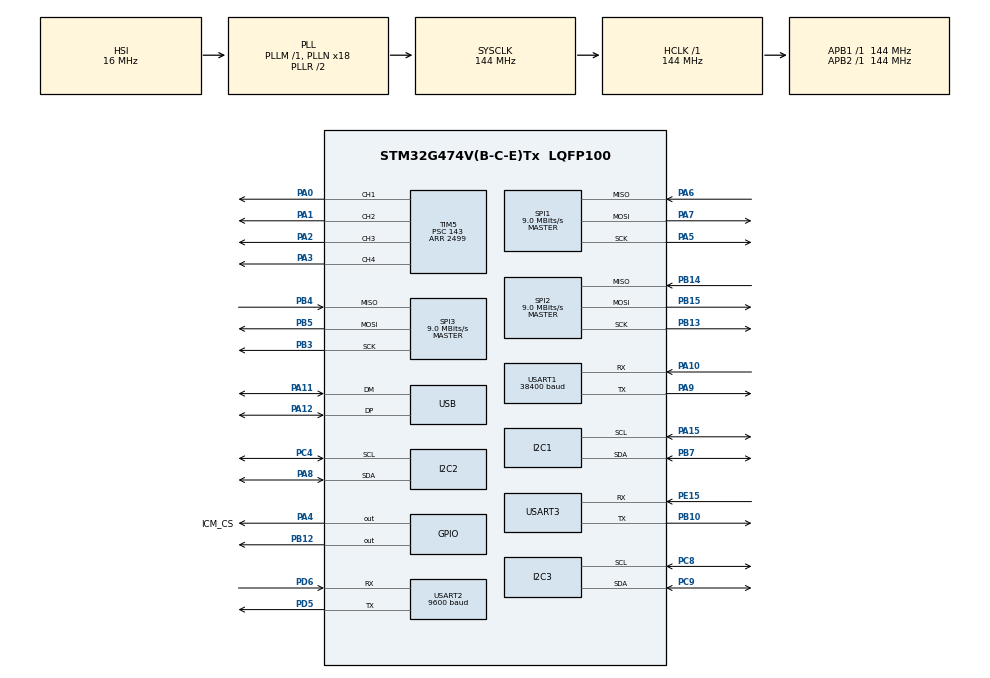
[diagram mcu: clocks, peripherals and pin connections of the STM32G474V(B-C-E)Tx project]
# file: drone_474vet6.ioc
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Dma.Request0=USART2_RX
Dma.Request1=USART2_TX
Dma.USART2_RX.0.Direction=DMA_PERIPH_TO_MEMORY
Dma.USART2_RX.0.EventEnable=DISABLE
Dma.USART2_RX.0.Instance=DMA1_Channel1
Dma.USART2_RX.0.MemDataAlignment=DMA_MDATAALIGN_BYTE
Dma.USART2_RX.0.MemInc=DMA_MINC_ENABLE
Dma.USART2_RX.0.Mode=DMA_CIRCULAR
Dma.USART2_RX.0.PeriphDataAlignment=DMA_PDATAALIGN_BYTE
Dma.USART2_RX.0.PeriphInc=DMA_PINC_DISABLE
Dma.USART2_RX.0.Polarity=HAL_DMAMUX_REQ_GEN_RISING
Dma.USART2_RX.0.Priority=DMA_PRIORITY_LOW
Dma.USART2_RX.0.RequestNumber=1
Dma.USART2_RX.0.SignalID=NONE
Dma.USART2_RX.0.SyncEnable=DISABLE
Dma.USART2_RX.0.SyncPolarity=HAL_DMAMUX_SYNC_NO_EVENT
Dma.USART2_RX.0.SyncRequestNumber=1
Dma.USART2_RX.0.SyncSignalID=NONE
Dma.USART2_TX.1.Direction=DMA_MEMORY_TO_PERIPH
Dma.USART2_TX.1.EventEnable=DISABLE
Dma.USART2_TX.1.Instance=DMA1_Channel2
Dma.USART2_TX.1.MemDataAlignment=DMA_MDATAALIGN_BYTE
Dma.USART2_TX.1.MemInc=DMA_MINC_ENABLE
Dma.USART2_TX.1.Mode=DMA_NORMAL
Dma.USART2_TX.1.PeriphDataAlignment=DMA_PDATAALIGN_BYTE
Dma.USART2_TX.1.PeriphInc=DMA_PINC_DISABLE
Dma.USART2_TX.1.Polarity=HAL_DMAMUX_REQ_GEN_RISING
Dma.USART2_TX.1.Priority=DMA_PRIORITY_LOW
Dma.USART2_TX.1.RequestNumber=1
Dma.USART2_TX.1.SignalID=NONE
Dma.USART2_TX.1.SyncEnable=DISABLE
Dma.USART2_TX.1.SyncPolarity=HAL_DMAMUX_SYNC_NO_EVENT
Dma.USART2_TX.1.SyncRequestNumber=1
Dma.USART2_TX.1.SyncSignalID=NONE
I2C1.Timing=0x60715075
I2C2.Timing=0x60715075
I2C3.Timing=0x60715075
Mcu.Family=STM32G4
Mcu.Name=STM32G474V(B-C-E)Tx
Mcu.Package=LQFP100
NVIC.DMA1_Channel1_IRQn=true\:0\:0\:false\:false\:true\:false\:true\:true
NVIC.DMA1_Channel2_IRQn=true\:0\:0\:false\:false\:true\:false\:true\:true
NVIC.PriorityGroup=NVIC_PRIORITYGROUP_4
NVIC.USART1_IRQn=true\:0\:0\:false\:false\:true\:true\:true\:true
NVIC.USART2_IRQn=true\:0\:0\:false\:false\:true\:true\:true\:true
NVIC.USB_LP_IRQn=true\:0\:0\:false\:false\:true\:false\:true\:true
PA0.Signal=S_TIM5_CH1
PA1.Signal=S_TIM5_CH2
PA10.Mode=Asynchronous
PA10.Signal=USART1_RX
PA11.Mode=Device
PA11.Signal=USB_DM
PA12.Mode=Device
PA12.Signal=USB_DP
PA13.Mode=Serial_Wire
PA13.Signal=SYS_JTMS-SWDIO
PA14.Mode=Serial_Wire
PA14.Signal=SYS_JTCK-SWCLK
PA15.Mode=I2C
PA15.Signal=I2C1_SCL
PA2.Signal=S_TIM5_CH3
PA3.Signal=S_TIM5_CH4
PA4.GPIO_Label=ICM_CS
PA4.Signal=GPIO_Output
PA5.Mode=Full_Duplex_Master
PA5.Signal=SPI1_SCK
PA6.Mode=Full_Duplex_Master
PA6.Signal=SPI1_MISO
PA7.Mode=Full_Duplex_Master
PA7.Signal=SPI1_MOSI
PA8.GPIO_Pu=GPIO_NOPULL
PA8.Mode=I2C
PA8.Signal=I2C2_SDA
PA9.Mode=Asynchronous
PA9.Signal=USART1_TX
PB10.Mode=Asynchronous
PB10.Signal=USART3_TX
PB12.Signal=GPIO_Output
PB13.Mode=Full_Duplex_Master
PB13.Signal=SPI2_SCK
PB14.Mode=Full_Duplex_Master
PB14.Signal=SPI2_MISO
PB15.Mode=Full_Duplex_Master
PB15.Signal=SPI2_MOSI
PB3.Mode=Full_Duplex_Master
PB3.Signal=SPI3_SCK
PB4.Mode=Full_Duplex_Master
PB4.Signal=SPI3_MISO
PB5.Mode=Full_Duplex_Master
PB5.Signal=SPI3_MOSI
PB7.Mode=I2C
PB7.Signal=I2C1_SDA
PC14-OSC32_IN.Mode=LSE-External-Oscillator
PC14-OSC32_IN.Signal=RCC_OSC32_IN
PC15-OSC32_OUT.Mode=LSE-External-Oscillator
PC15-OSC32_OUT.Signal=RCC_OSC32_OUT
PC4.Mode=I2C
PC4.Signal=I2C2_SCL
PC8.Mode=I2C
PC8.Signal=I2C3_SCL
PC9.Mode=I2C
PC9.Signal=I2C3_SDA
PD5.Mode=Asynchronous
PD5.Signal=USART2_TX
PD6.Mode=Asynchronous
PD6.Signal=USART2_RX
PE15.Mode=Asynchronous
PE15.Signal=USART3_RX
PF0-OSC_IN.Mode=HSE-External-Oscillator
PF0-OSC_IN.Signal=RCC_OSC_IN
PF1-OSC_OUT.Mode=HSE-External-Oscillator
PF1-OSC_OUT.Signal=RCC_OSC_OUT
ProjectManager.HeapSize=0x200
ProjectManager.StackSize=0x400
ProjectManager.TargetToolchain=STM32CubeIDE
RCC.ADC12Freq_Value=144000000
RCC.ADC345Freq_Value=144000000
RCC.AHBFreq_Value=144000000
RCC.APB1Freq_Value=144000000
RCC.APB1TimFreq_Value=144000000
RCC.APB2Freq_Value=144000000
RCC.APB2TimFreq_Value=144000000
RCC.CK48CLockSelection=RCC_USBCLKSOURCE_HSI48
RCC.CortexFreq_Value=144000000
RCC.EXTERNAL_CLOCK_VALUE=12288000
RCC.HCLKFreq_Value=144000000
RCC.HSE_VALUE=24000000
RCC.HSI48_VALUE=48000000
RCC.HSI_VALUE=16000000
RCC.PLLN=18
RCC.PLLQ=RCC_PLLQ_DIV6
RCC.SYSCLKFreq_VALUE=144000000
RCC.SYSCLKSource=RCC_SYSCLKSOURCE_PLLCLK
RCC.USBFreq_Value=48000000
RCC.VCOOutputFreq_Value=288000000
SH.S_TIM5_CH1.0=TIM5_CH1,PWM Generation1 CH1
SH.S_TIM5_CH2.0=TIM5_CH2,PWM Generation2 CH2
SH.S_TIM5_CH3.0=TIM5_CH3,PWM Generation3 CH3
SH.S_TIM5_CH4.0=TIM5_CH4,PWM Generation4 CH4
SPI1.BaudRatePrescaler=SPI_BAUDRATEPRESCALER_16
SPI1.CalculateBaudRate=9.0 MBits/s
SPI1.DataSize=SPI_DATASIZE_8BIT
SPI1.Direction=SPI_DIRECTION_2LINES
SPI1.Mode=SPI_MODE_MASTER
SPI1.VirtualType=VM_MASTER
SPI2.BaudRatePrescaler=SPI_BAUDRATEPRESCALER_16
SPI2.CalculateBaudRate=9.0 MBits/s
SPI2.Direction=SPI_DIRECTION_2LINES
SPI2.Mode=SPI_MODE_MASTER
SPI2.VirtualType=VM_MASTER
SPI3.BaudRatePrescaler=SPI_BAUDRATEPRESCALER_16
SPI3.CalculateBaudRate=9.0 MBits/s
SPI3.Direction=SPI_DIRECTION_2LINES
SPI3.Mode=SPI_MODE_MASTER
SPI3.VirtualType=VM_MASTER
TIM5.Channel-PWM\ Generation1\ CH1=TIM_CHANNEL_1
TIM5.Channel-PWM\ Generation2\ CH2=TIM_CHANNEL_2
TIM5.Channel-PWM\ Generation3\ CH3=TIM_CHANNEL_3
TIM5.Channel-PWM\ Generation4\ CH4=TIM_CHANNEL_4
TIM5.PeriodNoDither=2499
TIM5.Prescaler=143
TIM5.PulseNoDither_1=1000
TIM5.PulseNoDither_2=1000
TIM5.PulseNoDither_3=1000
USART1.BaudRate=38400
USART1.VirtualMode-Asynchronous=VM_ASYNC
USART2.BaudRate=9600
USART2.VirtualMode-Asynchronous=VM_ASYNC
USART3.VirtualMode-Asynchronous=VM_ASYNC
USB_DEVICE.CLASS_NAME_FS=CDC
USB_DEVICE.VirtualMode=Cdc
USB_DEVICE.VirtualModeFS=Cdc_FS
VP_SYS_VS_DBSignals.Mode=DisableDeadBatterySignals
VP_TIM5_VS_ClockSourceINT.Mode=Internal
VP_USB_DEVICE_VS_USB_DEVICE_CDC_FS.Mode=CDC_FS
board=custom

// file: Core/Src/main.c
/* USER CODE BEGIN Header */
/**
 ******************************************************************************
 * @file           : main.c
 * @brief          : Main program body
 ******************************************************************************
 * @attention
 *
 * Copyright (c) 2026 STMicroelectronics.
 * All rights reserved.
 *
 * This software is licensed under terms that can be found in the LICENSE file
 * in the root directory of this software component.
 * If no LICENSE file comes with this software, it is provided AS-IS.
 *
 ******************************************************************************
 */
/* USER CODE END Header */
#include "main.h"
#include "usb_device.h"

/* USER CODE BEGIN Includes */
#include "e220.h"
#include "icm42670.h"
#include "gps.h"
#include "mmc5983ma.h"
#include "angle_controller.h"
#include "rate_controller.h"
#include "mixer.h"
#include "mahony.h"
#include "drone_link.h"

#include "stdio.h"
#include "stdint.h"
#include "stdlib.h"
#include <string.h>
/* USER CODE END Includes */

/* USER CODE BEGIN PTD */

typedef struct
{
  uint32_t start_ms;
  DroneLink_PitchDebug_t data;
} PitchLogWindow_t;

/* USER CODE END PTD */

I2C_HandleTypeDef hi2c1; /**< Handle HAL của I2C1; truyền vào các driver dùng bus này. */
I2C_HandleTypeDef hi2c2; /**< Handle HAL của ngoại vi I2C2. */
I2C_HandleTypeDef hi2c3; /**< Handle HAL của ngoại vi I2C3. */

SPI_HandleTypeDef hspi1; /**< Handle SPI1 dùng trao đổi dữ liệu với ICM42670. */
SPI_HandleTypeDef hspi2; /**< Handle HAL của ngoại vi SPI2. */
SPI_HandleTypeDef hspi3; /**< Handle HAL của ngoại vi SPI3. */

TIM_HandleTypeDef htim5; /**< Handle TIM5 xuất PWM tới bốn ESC qua CH1..CH4. */

UART_HandleTypeDef huart1;        /**< USART1, 38400 baud; hiện dùng xuất log trạng thái. */
UART_HandleTypeDef huart2;        /**< USART2, 9600 baud; giao tiếp với module E220. */
UART_HandleTypeDef huart3;        /**< Handle HAL của USART3, cấu hình 115200 baud. */
DMA_HandleTypeDef hdma_usart2_rx; /**< Handle RX DMA1 Channel1 được CubeMX cấu hình; E220 hiện nhận từng byte bằng ngắt UART. */
DMA_HandleTypeDef hdma_usart2_tx; /**< Handle TX DMA1 Channel2 dùng gửi gói E220 không chặn. */

/* USER CODE BEGIN PV */
E220_t lora; /**< Trạng thái UART, bộ đệm RX/TX và bộ đếm chẩn đoán của radio. */
/* USART2 TX uses CubeMX DMA1_Channel2; E220 RX remains interrupt-driven. */
volatile uint32_t e220_uart_tx_done = 0; /**< Số callback hoàn tất TX của USART2; được tăng trong ngữ cảnh ngắt. */

DroneLink_t drone_link; /**< Trạng thái giao thức throttle/PID/telemetry giữa STM32 và ESP32. */

MMC5983MA_t mmc; /**< Đối tượng từ kế; đoạn khởi tạo hiện đang được comment. */

ICM42670_t icm;      /**< Cấu hình và bias gyro được đo trong quá trình hiệu chuẩn IMU. */
ICM42670_Data_t imu; /**< Mẫu IMU: gia tốc (g), tốc độ góc (độ/s) và nhiệt độ (độ C). */

Mahony_t mahony; /**< Quaternion, phản hồi tích phân và tham số bộ lọc tư thế Mahony. */

AngleController_t angle_ctrl; /**< PID vòng góc roll/pitch, tạo setpoint tốc độ góc. */
RateController_t rate_ctrl;   /**< PID vòng tốc độ roll/pitch/yaw, tạo hiệu chỉnh cho mixer. */

MotorMixer_t motor; /**< Độ rộng xung của bốn động cơ m1..m4, đơn vị microsecond. */

float roll_deg;  /**< Góc roll ước lượng từ Mahony, đơn vị độ. */
float pitch_deg; /**< Góc pitch ước lượng từ Mahony, đơn vị độ. */
float yaw_deg;   /**< Góc yaw tương đối, đơn vị độ; chưa dùng từ kế để hiệu chỉnh hướng. */

float roll_rate_sp;  /**< Tốc độ góc roll yêu cầu từ vòng góc, đơn vị độ/s. */
float pitch_rate_sp; /**< Tốc độ góc pitch yêu cầu từ vòng góc, đơn vị độ/s. */

float roll_pid;  /**< Hiệu chỉnh roll đưa vào mixer, cùng thang đơn vị microsecond với throttle. */
float pitch_pid; /**< Hiệu chỉnh pitch đưa vào mixer, cùng thang đơn vị microsecond với throttle. */
float yaw_pid;   /**< Hiệu chỉnh yaw đưa vào mixer, cùng thang đơn vị microsecond với throttle. */

float throttle = 1000.0f; /**< Lệnh ga trực tiếp lấy từ DroneLink, đơn vị microsecond. */

char uart_buf[128]; /**< Bộ đệm chuỗi báo lỗi khi khởi tạo IMU. */

static char tx_frame[512]; /**< Bộ đệm log tồn tại suốt chương trình để USART1 TX bằng ngắt đọc được. */
static PitchLogWindow_t pitch_log;
/* USER CODE END PV */

void SystemClock_Config(void);
static void MX_GPIO_Init(void);
static void MX_DMA_Init(void);
static void MX_I2C1_Init(void);
static void MX_I2C2_Init(void);
static void MX_USART1_UART_Init(void);
static void MX_USART2_UART_Init(void);
static void MX_USART3_UART_Init(void);
static void MX_SPI1_Init(void);
static void MX_SPI2_Init(void);
static void MX_SPI3_Init(void);
static void MX_I2C3_Init(void);
static void MX_TIM5_Init(void);
/* USER CODE BEGIN PFP */
// void HAL_UART_RxCpltCallback(UART_HandleTypeDef *huart) {
//	if (huart->Instance == USART1) {
//		GPS_RxCallback(gps_rx_byte);
//		HAL_UART_Receive_IT(&huart1, &gps_rx_byte, 1);
//	} else if (huart->Instance == USART2) {
//		E220_RxCallback(&lora);
//	}
// }
/* USER CODE END PFP */

/* USER CODE BEGIN 0 */
uint32_t last_tick; /**< Mốc HAL_GetTick() của lần cập nhật điều khiển trước, đơn vị ms. */

/* Collect every control sample, including peaks between radio status packets. */
static void PitchLog_Record(float dt, float p_term, float i_term, float d_term,
                            uint8_t pid_valid)
{
  DroneLink_PitchDebug_t *data = &pitch_log.data;
  float gyro_y = imu.gy_dps;
  float dt_ms = dt * 1000.0f;

  if (data->samples == 0U)
  {
    data->gyro_y_min = data->gyro_y_max = gyro_y;
    data->d_min = data->d_max = d_term;
    data->dt_min_ms = data->dt_max_ms = dt_ms;
  }
  else
  {
    if (gyro_y < data->gyro_y_min)
      data->gyro_y_min = gyro_y;
    if (gyro_y > data->gyro_y_max)
      data->gyro_y_max = gyro_y;
    if (d_term < data->d_min)
      data->d_min = d_term;
    if (d_term > data->d_max)
      data->d_max = d_term;
    if (dt_ms < data->dt_min_ms)
      data->dt_min_ms = dt_ms;
    if (dt_ms > data->dt_max_ms)
      data->dt_max_ms = dt_ms;
  }

  data->gyro_y = gyro_y;
  data->rate_sp = pitch_rate_sp;
  data->p_term = p_term;
  data->i_term = i_term;
  data->d_term = d_term;
  data->output = pitch_pid;
  data->dt_ms = dt_ms;
  ++data->samples;
  if (!pid_valid)
    ++data->invalid_pid_samples;
}

/*
 * One combined S + diagnostic per T request (normally about 1.5 seconds).
 * Preserve every peak until DMA accepts the packet, including busy/PID slots.
 * At throttle 1000 the sampled PID is diagnostic only, not applied to motors.
 */
static void PitchLog_TrySend(uint32_t now)
{
  pitch_log.data.window_ms = now - pitch_log.start_ms;
  if (DroneLink_SendStatusDebug(&drone_link, roll_deg, pitch_deg, yaw_deg,
                                motor.m1, motor.m2, motor.m3, motor.m4,
                                &pitch_log.data))
  {
    pitch_log = (PitchLogWindow_t){.start_ms = now};
  }
}

/* USER CODE END 0 */

int main(void)
{

  /* MCU Configuration--------------------------------------------------------*/

  /* Reset of all peripherals, Initializes the Flash interface and the Systick. */
  HAL_Init();

  /* Configure the system clock */
  SystemClock_Config();

  /* Initialize all configured peripherals */
  MX_GPIO_Init();
  MX_DMA_Init();
  MX_I2C1_Init();
  MX_I2C2_Init();
  MX_USART1_UART_Init();
  MX_USART2_UART_Init();
  MX_USART3_UART_Init();
  MX_SPI1_Init();
  MX_SPI2_Init();
  MX_SPI3_Init();
  MX_I2C3_Init();
  MX_TIM5_Init();
  MX_USB_Device_Init();
  /* USER CODE BEGIN 2 */

  HAL_TIM_PWM_Start(&htim5, TIM_CHANNEL_1);
  HAL_TIM_PWM_Start(&htim5, TIM_CHANNEL_2);
  HAL_TIM_PWM_Start(&htim5, TIM_CHANNEL_3);
  HAL_TIM_PWM_Start(&htim5, TIM_CHANNEL_4);

  __HAL_TIM_SET_COMPARE(&htim5, TIM_CHANNEL_1, 1000);
  __HAL_TIM_SET_COMPARE(&htim5, TIM_CHANNEL_2, 1000);
  __HAL_TIM_SET_COMPARE(&htim5, TIM_CHANNEL_3, 1000);
  __HAL_TIM_SET_COMPARE(&htim5, TIM_CHANNEL_4, 1000);

  HAL_Delay(4000);

  // if (GPS_Init(&huart1) != HAL_OK)
  // {
  // 	Error_Handler();
  // }
  if (ICM42670_Init(&icm) != ICM42670_OK)
  {
    sprintf(uart_buf, "ICM init err\r\n");
    HAL_UART_Transmit(&huart1, (uint8_t *)uart_buf, strlen(uart_buf),
                      HAL_MAX_DELAY);
    Error_Handler();
  }
  /* Keep the drone stationary (it may be tilted) throughout calibration. */
  if (ICM42670_CalibrateGyro(&icm, 500, 2) != ICM42670_OK)
  {
    Error_Handler();
  }

  /* Average gravity to initialize the actual tilt instead of zero angles. */
  const uint16_t tilt_samples = 100U; /**< Số mẫu gia tốc dùng tính hướng trọng lực khi khởi động. */
  float ax_sum = 0.0f;                /**< Tổng gia tốc trục X của các mẫu khởi tạo, đơn vị g. */
  float ay_sum = 0.0f;                /**< Tổng gia tốc trục Y của các mẫu khởi tạo, đơn vị g. */
  float az_sum = 0.0f;                /**< Tổng gia tốc trục Z của các mẫu khởi tạo, đơn vị g. */
  /* i là chỉ số mẫu gia tốc đang lấy, từ 0 đến tilt_samples - 1. */
  for (uint16_t i = 0U; i < tilt_samples; ++i)
  {
    if (ICM42670_ReadAll(&imu) != ICM42670_OK)
    {
      Error_Handler();
    }
    ax_sum += imu.ax_g;
    ay_sum += imu.ay_g;
    az_sum += imu.az_g;
    HAL_Delay(2U);
  }
  if (!Mahony_InitFromAccel(&mahony, ax_sum / tilt_samples,
                            ay_sum / tilt_samples, az_sum / tilt_samples))
  {
    Error_Handler();
  }
  Mahony_GetEuler(&mahony, &roll_deg, &pitch_deg, &yaw_deg);
  AngleController_Init(&angle_ctrl);
  RateController_Init(&rate_ctrl);

  /* MX_USART2_UART_Init already links TX DMA1_Channel2 and enables USART2 IRQ. */

  /* E220-900T22D: M0/M1 tied to GND, AUX disconnected, UART 9600 8N1.
   * Radio address/channel/air rate must match the peer's stored settings.
   */
  if (E220_Init(&lora, &huart2) != HAL_OK)
  {
    Error_Handler();
  }

  DroneLink_Init(&drone_link, &lora, &angle_ctrl, &rate_ctrl);
  motor.m1 = motor.m2 = motor.m3 = motor.m4 = 1000U;
  /* Tranh dt dau tien bang toan bo thoi gian khoi tao/calibrate IMU. */
  last_tick = HAL_GetTick();
  pitch_log = (PitchLogWindow_t){.start_ms = last_tick};

  /* E220 packet TX uses DMA; S is sent on T request (no periodic S). */
  /* Apply the existing motor outputs only after stationary IMU calibration. */
  //	__HAL_TIM_SET_COMPARE(&htim5, TIM_CHANNEL_1, 1300);
  //	__HAL_TIM_SET_COMPARE(&htim5, TIM_CHANNEL_2, 1150);
  //	__HAL_TIM_SET_COMPARE(&htim5, TIM_CHANNEL_3, 1200);
  //	__HAL_TIM_SET_COMPARE(&htim5, TIM_CHANNEL_4, 1150);
  // mmc.hi2c = &hi2c1;
  // if (MMC5983_Init(&mmc) != HAL_OK)
  // {
  // 	Error_Handler();
  // }
  /* USER CODE END 2 */

  /* Infinite loop */
  while (1)
  {

    /* USER CODE BEGIN 3 */
    DroneLink_Poll(&drone_link);

    uint32_t now = HAL_GetTick(); /**< Thời gian hiện tại của vòng lặp, đơn vị ms; phép trừ unsigned xử lý tràn tick. */

    float dt = (now - last_tick) * 0.001f; /**< Thời gian giữa hai lần cập nhật điều khiển, đổi từ ms sang giây. */

    if (dt < 0.002f)
    {
      continue;
    }

    last_tick = now;

    /* ================= IMU ================= */

    if (ICM42670_ReadAll(&imu) != ICM42670_OK)
    {
      // IMU failure must not leave the previous motor PWM active.
      DroneLink_SetMinimumThrottle(&drone_link);
      __HAL_TIM_SET_COMPARE(&htim5, TIM_CHANNEL_1, 1000);
      __HAL_TIM_SET_COMPARE(&htim5, TIM_CHANNEL_2, 1000);
      __HAL_TIM_SET_COMPARE(&htim5, TIM_CHANNEL_3, 1000);
      __HAL_TIM_SET_COMPARE(&htim5, TIM_CHANNEL_4, 1000);
      motor.m1 = motor.m2 = motor.m3 = motor.m4 = 1000;
      (void)DroneLink_SendStatus(&drone_link, roll_deg, pitch_deg, yaw_deg,
                                 motor.m1, motor.m2, motor.m3, motor.m4);
      continue;
    }

    ICM42670_ApplyCalibration(&icm, &imu);

    /* ================= MAHONY ================= */

    Mahony_Update(&mahony, imu.gx_dps, imu.gy_dps, imu.gz_dps, imu.ax_g,
                  imu.ay_g, imu.az_g, dt);

    Mahony_GetEuler(&mahony, &roll_deg, &pitch_deg, &yaw_deg);

    /*
     * Nếu IMU gắn khác chiều
     * thì đổi dấu tại đây
     */

    // roll_deg  = -roll_deg;
    // pitch_deg = -pitch_deg;
    /* ================= ANGLE PID ================= */

    AngleController_Update(&angle_ctrl, 0.0f, // roll target
                           0.0f,              // pitch target

                           roll_deg, pitch_deg, dt, &roll_rate_sp, &pitch_rate_sp);

    /* ================= RATE PID ================= */

    RateController_Update(&rate_ctrl, roll_rate_sp, pitch_rate_sp, 0.0f,
                          imu.gx_dps, imu.gy_dps, imu.gz_dps, dt, &roll_pid, &pitch_pid,
                          &yaw_pid);

    /* Snapshot the terms actually used, before minimum-throttle PID_Reset. */
    uint8_t pitch_pid_valid = rate_ctrl.pitch.initialized;
    float pitch_p_term = rate_ctrl.pitch.kp * rate_ctrl.pitch.prev_error;
    float pitch_i_term = rate_ctrl.pitch.integral;
    float pitch_d_term = -rate_ctrl.pitch.kd * rate_ctrl.pitch.derivative_filtered;
    PitchLog_Record(dt, pitch_p_term, pitch_i_term, pitch_d_term, pitch_pid_valid);

    /* ================= MIXER ================= */

    throttle = (float)DroneLink_Throttle(&drone_link);
    if (throttle > 1000.0f)
    {
      Mixer_QuadX(throttle, roll_pid, pitch_pid, yaw_pid, &motor);
    }
    else
    {
      motor.m1 = motor.m2 = motor.m3 = motor.m4 = 1000U;
      PID_Reset(&angle_ctrl.roll);
      PID_Reset(&angle_ctrl.pitch);
      PID_Reset(&rate_ctrl.roll);
      PID_Reset(&rate_ctrl.pitch);
      PID_Reset(&rate_ctrl.yaw);
    }

    // Xuat PWM ra ESC
    __HAL_TIM_SET_COMPARE(&htim5, TIM_CHANNEL_1, motor.m1);
    __HAL_TIM_SET_COMPARE(&htim5, TIM_CHANNEL_2, motor.m2);
    __HAL_TIM_SET_COMPARE(&htim5, TIM_CHANNEL_3, motor.m3);
    __HAL_TIM_SET_COMPARE(&htim5, TIM_CHANNEL_4, motor.m4);

    static uint32_t last_log_tick = 0U; /**< Mốc gửi log gần nhất, đơn vị ms; giữ giá trị giữa các vòng lặp. */

    uint32_t log_now = HAL_GetTick(); /**< Thời gian dùng kiểm tra chu kỳ log 500 ms. */

    PitchLog_TrySend(log_now);

    if ((log_now - last_log_tick >= 500U) && (huart1.gState == HAL_UART_STATE_READY))
    {
      /** @brief Số ký tự snprintf cần ghi, không tính NUL; chỉ gửi khi bộ đệm đủ chỗ. */
      int len =
          snprintf(tx_frame, sizeof(tx_frame),
                   "thr=%u angle=%.1f,%.1f,%.1f pid=%.1f,%.1f m=%u,%u,%u,%u\r\n"
                   "LORA T_RX=%lu P_WR=%lu P_RD=%lu TIMEOUT=%lu BAD=%lu"
                   " RX_BYTE=%lu S_REQ=%lu TX_DMA_START=%lu TX_DMA_DONE=%lu"
                   " TX_BUSY=%lu TX_ERR=%lu UART_ERR=%lu\r\n",
                   (unsigned)DroneLink_Throttle(&drone_link),
                   roll_deg, pitch_deg, yaw_deg, roll_pid, pitch_pid,
                   (unsigned)motor.m1, (unsigned)motor.m2,
                   (unsigned)motor.m3, (unsigned)motor.m4,
                   (unsigned long)drone_link.throttle_rx_count,
                   (unsigned long)drone_link.pid_write_count,
                   (unsigned long)drone_link.pid_read_count,
                   (unsigned long)drone_link.throttle_timeout_count,
                   (unsigned long)drone_link.rx_invalid_frames,
                   (unsigned long)drone_link.rx_byte_count,
                   (unsigned long)drone_link.status_request_count,
                   (unsigned long)lora.tx_start_count,
                   (unsigned long)lora.tx_done_count,
                   (unsigned long)lora.tx_busy_count,
                   (unsigned long)lora.tx_error_count,
                   (unsigned long)lora.uart_error_count);

      if ((len > 0) && ((size_t)len < sizeof(tx_frame)))
      {
        if (HAL_UART_Transmit_IT(&huart1, (uint8_t *)tx_frame,
                                 (uint16_t)len) == HAL_OK)
        {
          last_log_tick = log_now;
        }
      }
    }
  }
  /* USER CODE END 3 */
}

void SystemClock_Config(void)
{
  RCC_OscInitTypeDef RCC_OscInitStruct = {0}; /**< Cấu hình HSI, HSI48 và PLL; khởi tạo các trường về 0. */
  RCC_ClkInitTypeDef RCC_ClkInitStruct = {0}; /**< Cấu hình nguồn clock CPU và các bộ chia bus AHB/APB. */

  /** Configure the main internal regulator output voltage
   */
  HAL_PWREx_ControlVoltageScaling(PWR_REGULATOR_VOLTAGE_SCALE1);

  /** Initializes the RCC Oscillators according to the specified parameters
   * in the RCC_OscInitTypeDef structure.
   */
  RCC_OscInitStruct.OscillatorType = RCC_OSCILLATORTYPE_HSI | RCC_OSCILLATORTYPE_HSI48;
  RCC_OscInitStruct.HSIState = RCC_HSI_ON;
  RCC_OscInitStruct.HSICalibrationValue = RCC_HSICALIBRATION_DEFAULT;
  RCC_OscInitStruct.HSI48State = RCC_HSI48_ON;
  RCC_OscInitStruct.PLL.PLLState = RCC_PLL_ON;
  RCC_OscInitStruct.PLL.PLLSource = RCC_PLLSOURCE_HSI;
  RCC_OscInitStruct.PLL.PLLM = RCC_PLLM_DIV1;
  RCC_OscInitStruct.PLL.PLLN = 18;
  RCC_OscInitStruct.PLL.PLLP = RCC_PLLP_DIV2;
  RCC_OscInitStruct.PLL.PLLQ = RCC_PLLQ_DIV6;
  RCC_OscInitStruct.PLL.PLLR = RCC_PLLR_DIV2;
  if (HAL_RCC_OscConfig(&RCC_OscInitStruct) != HAL_OK)
  {
    Error_Handler();
  }

  /** Initializes the CPU, AHB and APB buses clocks
   */
  RCC_ClkInitStruct.ClockType = RCC_CLOCKTYPE_HCLK | RCC_CLOCKTYPE_SYSCLK | RCC_CLOCKTYPE_PCLK1 | RCC_CLOCKTYPE_PCLK2;
  RCC_ClkInitStruct.SYSCLKSource = RCC_SYSCLKSOURCE_PLLCLK;
  RCC_ClkInitStruct.AHBCLKDivider = RCC_SYSCLK_DIV1;
  RCC_ClkInitStruct.APB1CLKDivider = RCC_HCLK_DIV1;
  RCC_ClkInitStruct.APB2CLKDivider = RCC_HCLK_DIV1;

  if (HAL_RCC_ClockConfig(&RCC_ClkInitStruct, FLASH_LATENCY_4) != HAL_OK)
  {
    Error_Handler();
  }
}

static void MX_I2C1_Init(void)
{

  hi2c1.Instance = I2C1;
  hi2c1.Init.Timing = 0x60715075;
  hi2c1.Init.OwnAddress1 = 0;
  hi2c1.Init.AddressingMode = I2C_ADDRESSINGMODE_7BIT;
  hi2c1.Init.DualAddressMode = I2C_DUALADDRESS_DISABLE;
  hi2c1.Init.OwnAddress2 = 0;
  hi2c1.Init.OwnAddress2Masks = I2C_OA2_NOMASK;
  hi2c1.Init.GeneralCallMode = I2C_GENERALCALL_DISABLE;
  hi2c1.Init.NoStretchMode = I2C_NOSTRETCH_DISABLE;
  if (HAL_I2C_Init(&hi2c1) != HAL_OK)
  {
    Error_Handler();
  }

  /** Configure Analogue filter
   */
  if (HAL_I2CEx_ConfigAnalogFilter(&hi2c1, I2C_ANALOGFILTER_ENABLE) != HAL_OK)
  {
    Error_Handler();
  }

  /** Configure Digital filter
   */
  if (HAL_I2CEx_ConfigDigitalFilter(&hi2c1, 0) != HAL_OK)
  {
    Error_Handler();
  }
}

static void MX_I2C2_Init(void)
{

  hi2c2.Instance = I2C2;
  hi2c2.Init.Timing = 0x60715075;
  hi2c2.Init.OwnAddress1 = 0;
  hi2c2.Init.AddressingMode = I2C_ADDRESSINGMODE_7BIT;
  hi2c2.Init.DualAddressMode = I2C_DUALADDRESS_DISABLE;
  hi2c2.Init.OwnAddress2 = 0;
  hi2c2.Init.OwnAddress2Masks = I2C_OA2_NOMASK;
  hi2c2.Init.GeneralCallMode = I2C_GENERALCALL_DISABLE;
  hi2c2.Init.NoStretchMode = I2C_NOSTRETCH_DISABLE;
  if (HAL_I2C_Init(&hi2c2) != HAL_OK)
  {
    Error_Handler();
  }

  /** Configure Analogue filter
   */
  if (HAL_I2CEx_ConfigAnalogFilter(&hi2c2, I2C_ANALOGFILTER_ENABLE) != HAL_OK)
  {
    Error_Handler();
  }

  /** Configure Digital filter
   */
  if (HAL_I2CEx_ConfigDigitalFilter(&hi2c2, 0) != HAL_OK)
  {
    Error_Handler();
  }
}

static void MX_I2C3_Init(void)
{

  hi2c3.Instance = I2C3;
  hi2c3.Init.Timing = 0x60715075;
  hi2c3.Init.OwnAddress1 = 0;
  hi2c3.Init.AddressingMode = I2C_ADDRESSINGMODE_7BIT;
  hi2c3.Init.DualAddressMode = I2C_DUALADDRESS_DISABLE;
  hi2c3.Init.OwnAddress2 = 0;
  hi2c3.Init.OwnAddress2Masks = I2C_OA2_NOMASK;
  hi2c3.Init.GeneralCallMode = I2C_GENERALCALL_DISABLE;
  hi2c3.Init.NoStretchMode = I2C_NOSTRETCH_DISABLE;
  if (HAL_I2C_Init(&hi2c3) != HAL_OK)
  {
    Error_Handler();
  }

  /** Configure Analogue filter
   */
  if (HAL_I2CEx_ConfigAnalogFilter(&hi2c3, I2C_ANALOGFILTER_ENABLE) != HAL_OK)
  {
    Error_Handler();
  }

  /** Configure Digital filter
   */
  if (HAL_I2CEx_ConfigDigitalFilter(&hi2c3, 0) != HAL_OK)
  {
    Error_Handler();
  }
}

static void MX_SPI1_Init(void)
{

  /* SPI1 parameter configuration*/
  hspi1.Instance = SPI1;
  hspi1.Init.Mode = SPI_MODE_MASTER;
  hspi1.Init.Direction = SPI_DIRECTION_2LINES;
  hspi1.Init.DataSize = SPI_DATASIZE_8BIT;
  hspi1.Init.CLKPolarity = SPI_POLARITY_LOW;
  hspi1.Init.CLKPhase = SPI_PHASE_1EDGE;
  hspi1.Init.NSS = SPI_NSS_SOFT;
  hspi1.Init.BaudRatePrescaler = SPI_BAUDRATEPRESCALER_16;
  hspi1.Init.FirstBit = SPI_FIRSTBIT_MSB;
  hspi1.Init.TIMode = SPI_TIMODE_DISABLE;
  hspi1.Init.CRCCalculation = SPI_CRCCALCULATION_DISABLE;
  hspi1.Init.CRCPolynomial = 7;
  hspi1.Init.CRCLength = SPI_CRC_LENGTH_DATASIZE;
  hspi1.Init.NSSPMode = SPI_NSS_PULSE_ENABLE;
  if (HAL_SPI_Init(&hspi1) != HAL_OK)
  {
    Error_Handler();
  }
}

static void MX_SPI2_Init(void)
{

  /* SPI2 parameter configuration*/
  hspi2.Instance = SPI2;
  hspi2.Init.Mode = SPI_MODE_MASTER;
  hspi2.Init.Direction = SPI_DIRECTION_2LINES;
  hspi2.Init.DataSize = SPI_DATASIZE_4BIT;
  hspi2.Init.CLKPolarity = SPI_POLARITY_LOW;
  hspi2.Init.CLKPhase = SPI_PHASE_1EDGE;
  hspi2.Init.NSS = SPI_NSS_SOFT;
  hspi2.Init.BaudRatePrescaler = SPI_BAUDRATEPRESCALER_16;
  hspi2.Init.FirstBit = SPI_FIRSTBIT_MSB;
  hspi2.Init.TIMode = SPI_TIMODE_DISABLE;
  hspi2.Init.CRCCalculation = SPI_CRCCALCULATION_DISABLE;
  hspi2.Init.CRCPolynomial = 7;
  hspi2.Init.CRCLength = SPI_CRC_LENGTH_DATASIZE;
  hspi2.Init.NSSPMode = SPI_NSS_PULSE_ENABLE;
  if (HAL_SPI_Init(&hspi2) != HAL_OK)
  {
    Error_Handler();
  }
}

static void MX_SPI3_Init(void)
{

  /* SPI3 parameter configuration*/
  hspi3.Instance = SPI3;
  hspi3.Init.Mode = SPI_MODE_MASTER;
  hspi3.Init.Direction = SPI_DIRECTION_2LINES;
  hspi3.Init.DataSize = SPI_DATASIZE_4BIT;
  hspi3.Init.CLKPolarity = SPI_POLARITY_LOW;
  hspi3.Init.CLKPhase = SPI_PHASE_1EDGE;
  hspi3.Init.NSS = SPI_NSS_SOFT;
  hspi3.Init.BaudRatePrescaler = SPI_BAUDRATEPRESCALER_16;
  hspi3.Init.FirstBit = SPI_FIRSTBIT_MSB;
  hspi3.Init.TIMode = SPI_TIMODE_DISABLE;
  hspi3.Init.CRCCalculation = SPI_CRCCALCULATION_DISABLE;
  hspi3.Init.CRCPolynomial = 7;
  hspi3.Init.CRCLength = SPI_CRC_LENGTH_DATASIZE;
  hspi3.Init.NSSPMode = SPI_NSS_PULSE_ENABLE;
  if (HAL_SPI_Init(&hspi3) != HAL_OK)
  {
    Error_Handler();
  }
}

static void MX_TIM5_Init(void)
{

  TIM_ClockConfigTypeDef sClockSourceConfig = {0}; /**< Chọn nguồn clock nội cho TIM5. */
  TIM_MasterConfigTypeDef sMasterConfig = {0};     /**< Cấu hình đồng bộ và tín hiệu trigger của TIM5. */
  TIM_OC_InitTypeDef sConfigOC = {0};              /**< Cấu hình chế độ PWM, polarity và giá trị compare của từng kênh. */

  htim5.Instance = TIM5;
  htim5.Init.Prescaler = 143;
  htim5.Init.CounterMode = TIM_COUNTERMODE_UP;
  htim5.Init.Period = 2499;
  htim5.Init.ClockDivision = TIM_CLOCKDIVISION_DIV1;
  htim5.Init.AutoReloadPreload = TIM_AUTORELOAD_PRELOAD_DISABLE;
  if (HAL_TIM_Base_Init(&htim5) != HAL_OK)
  {
    Error_Handler();
  }
  sClockSourceConfig.ClockSource = TIM_CLOCKSOURCE_INTERNAL;
  if (HAL_TIM_ConfigClockSource(&htim5, &sClockSourceConfig) != HAL_OK)
  {
    Error_Handler();
  }
  if (HAL_TIM_PWM_Init(&htim5) != HAL_OK)
  {
    Error_Handler();
  }
  sMasterConfig.MasterOutputTrigger = TIM_TRGO_RESET;
  sMasterConfig.MasterSlaveMode = TIM_MASTERSLAVEMODE_DISABLE;
  if (HAL_TIMEx_MasterConfigSynchronization(&htim5, &sMasterConfig) != HAL_OK)
  {
    Error_Handler();
  }
  sConfigOC.OCMode = TIM_OCMODE_PWM1;
  sConfigOC.Pulse = 1000;
  sConfigOC.OCPolarity = TIM_OCPOLARITY_HIGH;
  sConfigOC.OCFastMode = TIM_OCFAST_DISABLE;
  if (HAL_TIM_PWM_ConfigChannel(&htim5, &sConfigOC, TIM_CHANNEL_1) != HAL_OK)
  {
    Error_Handler();
  }
  if (HAL_TIM_PWM_ConfigChannel(&htim5, &sConfigOC, TIM_CHANNEL_2) != HAL_OK)
  {
    Error_Handler();
  }
  if (HAL_TIM_PWM_ConfigChannel(&htim5, &sConfigOC, TIM_CHANNEL_3) != HAL_OK)
  {
    Error_Handler();
  }
  sConfigOC.Pulse = 0;
  if (HAL_TIM_PWM_ConfigChannel(&htim5, &sConfigOC, TIM_CHANNEL_4) != HAL_OK)
  {
    Error_Handler();
  }
  HAL_TIM_MspPostInit(&htim5);
}

static void MX_USART1_UART_Init(void)
{

  huart1.Instance = USART1;
  huart1.Init.BaudRate = 38400;
  huart1.Init.WordLength = UART_WORDLENGTH_8B;
  huart1.Init.StopBits = UART_STOPBITS_1;
  huart1.Init.Parity = UART_PARITY_NONE;
  huart1.Init.Mode = UART_MODE_TX_RX;
  huart1.Init.HwFlowCtl = UART_HWCONTROL_NONE;
  huart1.Init.OverSampling = UART_OVERSAMPLING_16;
  huart1.Init.OneBitSampling = UART_ONE_BIT_SAMPLE_DISABLE;
  huart1.Init.ClockPrescaler = UART_PRESCALER_DIV1;
  huart1.AdvancedInit.AdvFeatureInit = UART_ADVFEATURE_NO_INIT;
  if (HAL_UART_Init(&huart1) != HAL_OK)
  {
    Error_Handler();
  }
  if (HAL_UARTEx_SetTxFifoThreshold(&huart1, UART_TXFIFO_THRESHOLD_1_8) != HAL_OK)
  {
    Error_Handler();
  }
  if (HAL_UARTEx_SetRxFifoThreshold(&huart1, UART_RXFIFO_THRESHOLD_1_8) != HAL_OK)
  {
    Error_Handler();
  }
  if (HAL_UARTEx_DisableFifoMode(&huart1) != HAL_OK)
  {
    Error_Handler();
  }
}

static void MX_USART2_UART_Init(void)
{

  huart2.Instance = USART2;
  huart2.Init.BaudRate = 9600;
  huart2.Init.WordLength = UART_WORDLENGTH_8B;
  huart2.Init.StopBits = UART_STOPBITS_1;
  huart2.Init.Parity = UART_PARITY_NONE;
  huart2.Init.Mode = UART_MODE_TX_RX;
  huart2.Init.HwFlowCtl = UART_HWCONTROL_NONE;
  huart2.Init.OverSampling = UART_OVERSAMPLING_16;
  huart2.Init.OneBitSampling = UART_ONE_BIT_SAMPLE_DISABLE;
  huart2.Init.ClockPrescaler = UART_PRESCALER_DIV1;
  huart2.AdvancedInit.AdvFeatureInit = UART_ADVFEATURE_NO_INIT;
  if (HAL_UART_Init(&huart2) != HAL_OK)
  {
    Error_Handler();
  }
  if (HAL_UARTEx_SetTxFifoThreshold(&huart2, UART_TXFIFO_THRESHOLD_1_8) != HAL_OK)
  {
    Error_Handler();
  }
  if (HAL_UARTEx_SetRxFifoThreshold(&huart2, UART_RXFIFO_THRESHOLD_1_8) != HAL_OK)
  {
    Error_Handler();
  }
  if (HAL_UARTEx_DisableFifoMode(&huart2) != HAL_OK)
  {
    Error_Handler();
  }
}

static void MX_USART3_UART_Init(void)
{

  huart3.Instance = USART3;
  huart3.Init.BaudRate = 115200;
  huart3.Init.WordLength = UART_WORDLENGTH_8B;
  huart3.Init.StopBits = UART_STOPBITS_1;
  huart3.Init.Parity = UART_PARITY_NONE;
  huart3.Init.Mode = UART_MODE_TX_RX;
  huart3.Init.HwFlowCtl = UART_HWCONTROL_NONE;
  huart3.Init.OverSampling = UART_OVERSAMPLING_16;
  huart3.Init.OneBitSampling = UART_ONE_BIT_SAMPLE_DISABLE;
  huart3.Init.ClockPrescaler = UART_PRESCALER_DIV1;
  huart3.AdvancedInit.AdvFeatureInit = UART_ADVFEATURE_NO_INIT;
  if (HAL_UART_Init(&huart3) != HAL_OK)
  {
    Error_Handler();
  }
  if (HAL_UARTEx_SetTxFifoThreshold(&huart3, UART_TXFIFO_THRESHOLD_1_8) != HAL_OK)
  {
    Error_Handler();
  }
  if (HAL_UARTEx_SetRxFifoThreshold(&huart3, UART_RXFIFO_THRESHOLD_1_8) != HAL_OK)
  {
    Error_Handler();
  }
  if (HAL_UARTEx_DisableFifoMode(&huart3) != HAL_OK)
  {
    Error_Handler();
  }
}

static void MX_DMA_Init(void)
{

  /* DMA controller clock enable */
  __HAL_RCC_DMAMUX1_CLK_ENABLE();
  __HAL_RCC_DMA1_CLK_ENABLE();

  /* DMA interrupt init */
  /* DMA1_Channel1_IRQn interrupt configuration */
  HAL_NVIC_SetPriority(DMA1_Channel1_IRQn, 0, 0);
  HAL_NVIC_EnableIRQ(DMA1_Channel1_IRQn);
  /* DMA1_Channel2_IRQn interrupt configuration */
  HAL_NVIC_SetPriority(DMA1_Channel2_IRQn, 0, 0);
  HAL_NVIC_EnableIRQ(DMA1_Channel2_IRQn);
}

static void MX_GPIO_Init(void)
{
  GPIO_InitTypeDef GPIO_InitStruct = {0}; /**< Cấu hình GPIO dùng chung khi thiết lập các chân output. */

  /* GPIO Ports Clock Enable */
  __HAL_RCC_GPIOC_CLK_ENABLE();
  __HAL_RCC_GPIOF_CLK_ENABLE();
  __HAL_RCC_GPIOA_CLK_ENABLE();
  __HAL_RCC_GPIOE_CLK_ENABLE();
  __HAL_RCC_GPIOB_CLK_ENABLE();
  __HAL_RCC_GPIOD_CLK_ENABLE();

  /*Configure GPIO pin Output Level */
  HAL_GPIO_WritePin(ICM_CS_GPIO_Port, ICM_CS_Pin, GPIO_PIN_RESET);

  /*Configure GPIO pin Output Level */
  HAL_GPIO_WritePin(GPIOB, GPIO_PIN_12, GPIO_PIN_RESET);

  /*Configure GPIO pin : ICM_CS_Pin */
  GPIO_InitStruct.Pin = ICM_CS_Pin;
  GPIO_InitStruct.Mode = GPIO_MODE_OUTPUT_PP;
  GPIO_InitStruct.Pull = GPIO_NOPULL;
  GPIO_InitStruct.Speed = GPIO_SPEED_FREQ_LOW;
  HAL_GPIO_Init(ICM_CS_GPIO_Port, &GPIO_InitStruct);

  /*Configure GPIO pin : PB12 */
  GPIO_InitStruct.Pin = GPIO_PIN_12;
  GPIO_InitStruct.Mode = GPIO_MODE_OUTPUT_PP;
  GPIO_InitStruct.Pull = GPIO_NOPULL;
  GPIO_InitStruct.Speed = GPIO_SPEED_FREQ_LOW;
  HAL_GPIO_Init(GPIOB, &GPIO_InitStruct);

}

/* USER CODE BEGIN 4 */

/**
 * @brief Chuyển callback nhận USART2 tới driver E220 để lưu byte và đăng ký lần nhận tiếp theo.
 * @param[in] huart Handle UART do HAL truyền vào; chỉ USART2 được xử lý ở đây.
 * @note Được HAL gọi trong ngữ cảnh ngắt UART/DMA; không poll giao thức ở đây.
 */
void HAL_UART_RxCpltCallback(UART_HandleTypeDef *huart)
{
  if (huart->Instance == USART2)
  {
    E220_RxCallback(&lora);
  }
}

/**
 * @brief Đếm lần hoàn tất TX USART2 và giải phóng trạng thái TX DMA của driver E220.
 * @param[in] huart Handle UART do HAL truyền vào; chỉ USART2 được xử lý ở đây.
 * @note Được HAL gọi trong ngữ cảnh ngắt UART/DMA; không poll giao thức ở đây.
 */
void HAL_UART_TxCpltCallback(UART_HandleTypeDef *huart)
{
  if (huart->Instance == USART2)
  {
    ++e220_uart_tx_done;
    E220_TxCpltCallback(&lora);
  }
}

/**
 * @brief Chuyển lỗi USART2 tới driver E220 để đếm lỗi và phục hồi nhận UART.
 * @param[in] huart Handle UART do HAL truyền vào; chỉ USART2 được xử lý ở đây.
 * @note Được HAL gọi trong ngữ cảnh ngắt UART/DMA; không poll giao thức ở đây.
 */
void HAL_UART_ErrorCallback(UART_HandleTypeDef *huart)
{
  if (huart->Instance == USART2)
  {
    E220_ErrorCallback(&lora);
  }
}
/* USER CODE END 4 */

void Error_Handler(void)
{
  __disable_irq();
  while (1)
  {
  }
}
